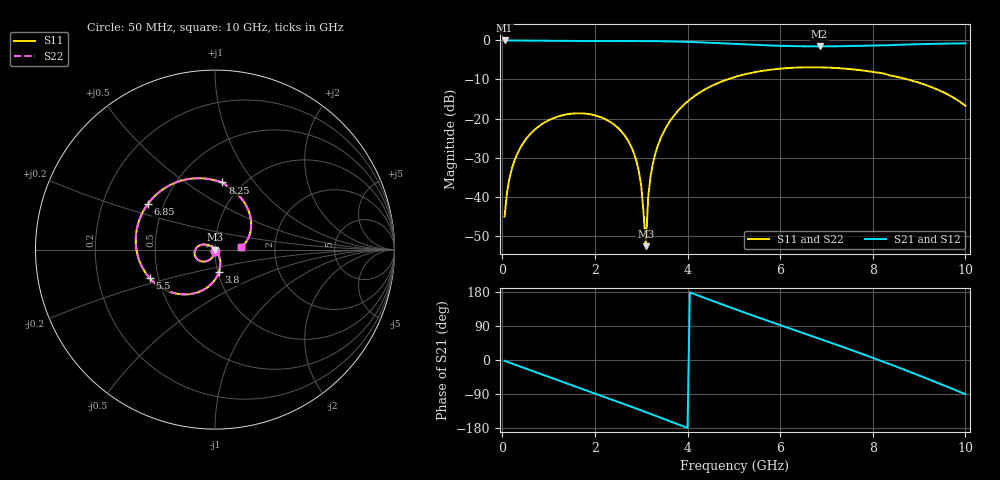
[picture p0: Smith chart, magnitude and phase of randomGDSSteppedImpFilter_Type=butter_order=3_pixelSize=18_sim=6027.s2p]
! freq	dB(S11)	phase(S11)	dB(S12)	phase(S12)
!  dB(S21)	phase(S21)	dB(S22)	phase(S22)
!S-par simulation data
#  GHz  S  DB  R 50
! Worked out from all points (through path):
!   200 points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, 50 MHz to 10 GHz, reference 50 ohm
!   highest |S21| = 0.00 dB at 50 MHz (marker M1); lowest = -1.5 dB at 6.85 GHz (marker M2)
!   group delay of S21, straight-line fit = 124 ps
!   lowest |S11| = -52.7 dB at 3.1 GHz (marker M3), VSWR 1.00, Z = 50.2 - j0.0203 ohm
!   |S11| at or under -10 dB: start of sweep to 4.855 GHz; 8.759 GHz to end of sweep
!   |S22| runs from -55.0 to -6.9 dB; largest |S21 - S12| = 0
!   S11 on the Smith chart (normalised r, x): 50 MHz: 1.00, -0.01; 3.8 GHz: 1.01, -0.26; 5.5 GHz: 0.45, -0.17; 6.85 GHz: 0.41, +0.26; 8.25 GHz: 0.81, +0.71; 10 GHz: 1.34, +0.04
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0.05  -45.12 -91.8  -0.00 -2.2  -0.00 -2.2  -45.12 -91.8
0.2  -33.13 -99.0  -0.01 -9.0  -0.01 -9.0  -33.13 -99.0
0.5  -25.45 -112.7  -0.03 -22.3  -0.03 -22.3  -25.45 -112.6
1.05  -20.17 -137.4  -0.09 -46.6  -0.09 -46.6  -20.17 -137.3
1.75  -18.69 -168.5  -0.14 -77.2  -0.14 -77.2  -18.69 -168.3
2.4  -21.44 162.4  -0.15 -106.0  -0.15 -106.0  -21.44 162.9
2.8  -27.65 143.3  -0.15 -123.9  -0.15 -123.9  -27.65 144.6
3  -37.29 129.8  -0.16 -133.0  -0.16 -133.0  -37.33 134.1
3.1  -52.70 -5.0  -0.17 -137.6  -0.17 -137.6  -55.02 -31.2
3.15  -40.18 -41.5  -0.17 -139.9  -0.17 -139.9  -40.29 -47.7
3.2  -34.95 -47.9  -0.17 -142.2  -0.17 -142.2  -34.98 -51.4
3.4  -25.65 -60.4  -0.20 -151.4  -0.20 -151.4  -25.65 -61.6
3.8  -17.95 -79.8  -0.30 -169.9  -0.30 -169.9  -17.95 -80.4
4.4  -12.39 -107.7  -0.54 162.4  -0.54 162.4  -12.39 -108.0
5.05  -9.26 -136.9  -0.91 133.1  -0.91 133.1  -9.26 -137.1
5.5  -8.02 -156.5  -1.15 113.5  -1.15 113.5  -8.02 -156.6
6.7  -6.87 152.5  -1.52 62.4  -1.52 62.4  -6.87 152.6
6.85  -6.89 146.1  -1.52 56.1  -1.52 56.1  -6.89 146.2
8.25  -8.49 83.7  -1.25 -5.9  -1.25 -5.9  -8.49 83.9
8.35  -8.89 79.1  -1.22 -10.0  -1.22 -10.0  -8.89 79.2
9.1  -11.23 44.9  -0.93 -45.6  -0.93 -45.6  -11.23 45.1
10  -16.75 5.1  -0.74 -90.2  -0.74 -90.2  -16.76 4.9
